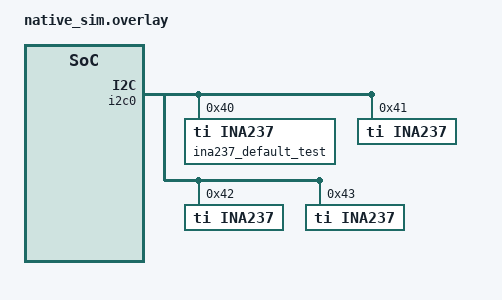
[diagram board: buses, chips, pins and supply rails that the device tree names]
/* Copyright (c) 2023 North River Systems Ltd
 * SPDX-License-Identifier: Apache-2.0
 */

#include <zephyr/dt-bindings/sensor/ina237.h>

&i2c0 {
	status = "okay";

	/* standard precision mode */
	ina237_default_test: ina237@40 {
		compatible = "ti,ina237";
		reg = <0x40>;
		rshunt-micro-ohms = <400>;
		current-lsb-microamps = <123>;
		status = "okay";
	};

	/* high precision mode */
	ina237@41 {
		compatible = "ti,ina237";
		reg = <0x41>;
		high-precision;
		rshunt-micro-ohms = <400>;
		current-lsb-microamps = <123>;
		status = "okay";
	};

	/*
	 * High precision mode, maximum current lsb
	 *
	 * For INA237, the equation for calculating the SHUNT_CAL register
	 * value is given by:
	 *
	 * SHUNT_CAL = (819.2 * 10^6 * R_SHUNT * I_LSB * ( 1 + 3*high_precision ))
	 *
	 * According to the datasheet, the maximum value of SHUNT_CAL is 0x7FFF.
	 *
	 * Since high precision mode is enabled, the above equation becomes:
	 *
	 * SHUNT_CAL = (3276.8 * 10^6 * R_SHUNT * I_LSB)
	 *
	 * Using the maximum value of SHUNT_CAL of 0x7FFF gives:
	 *
	 * 0x7FFF = (3276.8 * 10^6 * R_SHUNT * I_LSB)
	 *
	 * R_SHUNT * I_LSB = (32767 * 10^-5)/32768.
	 *
	 * For maximum current LSB = 0xFFFF uA:
	 * R_SHUNT = (32767 * 10^-5)/(32768 * 65535 * 10^-6) =  152
	 *
	 */
	ina237@42 {
		compatible = "ti,ina237";
		reg = <0x42>;
		high-precision;
		rshunt-micro-ohms = <152>;
		current-lsb-microamps = <0xffff>;
		status = "okay";
	};

	/* high precision mode, maximum rshunt
	 *
	 * For INA237, the equation for calculating the SHUNT_CAL register
	 * value is given by:
	 *
	 * SHUNT_CAL = (819.2 * 10^6 * R_SHUNT * I_LSB * ( 1 + 3*high_precision ))
	 *
	 * According to the datasheet, the maximum value of SHUNT_CAL is 0x7FFF.
	 *
	 * Since high precision mode is enabled, the above equation becomes:
	 *
	 * SHUNT_CAL = (3276.8 * 10^6 * R_SHUNT * I_LSB)
	 *
	 * Using the maximum value of SHUNT_CAL of 0x7FFF gives:
	 *
	 * 0x7FFF = (3276.8 * 10^6 * R_SHUNT * I_LSB)
	 *
	 * R_SHUNT * I_LSB = (32767 * 10^-5)/32768.
	 *
	 * For maximum rshunt value = 0xFFFF uOhm:
	 * I_LSB = (32767 * 10^-5)/(32768 * 65535 * 10^-6) =  152
	 *
	 */
	ina237@43 {
		compatible = "ti,ina237";
		reg = <0x43>;
		high-precision;
		rshunt-micro-ohms = <0xffff>;
		current-lsb-microamps = <152>;
		status = "okay";
	};
};
